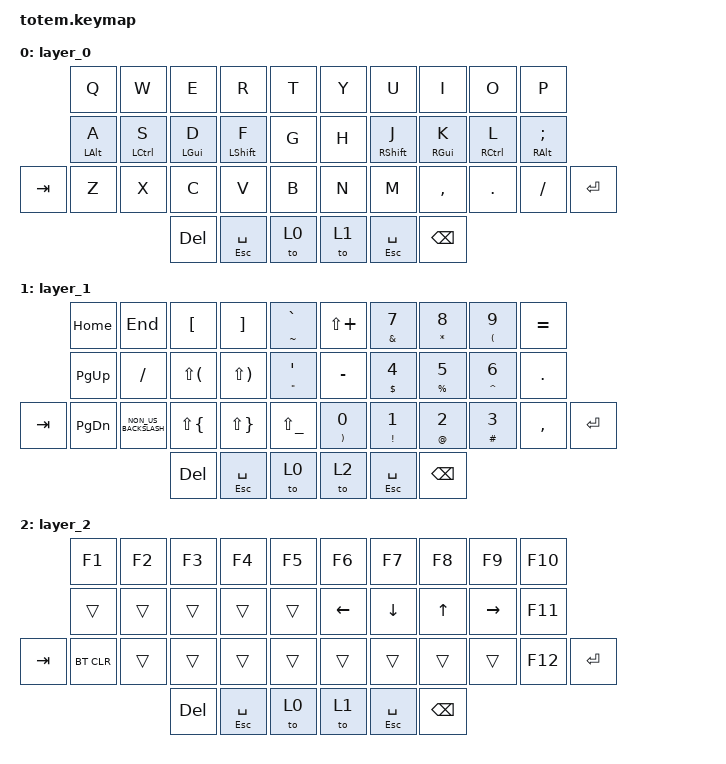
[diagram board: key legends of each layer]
#include <behaviors.dtsi>
#include <dt-bindings/zmk/bt.h>
#include <dt-bindings/zmk/keys.h>

/ {
    behaviors {
        HML: HML {
            compatible = "zmk,behavior-hold-tap";
            label = "HML";
            bindings = <&kp>, <&kp>;

            #binding-cells = <2>;
            tapping-term-ms = <280>;
            quick-tap-ms = <175>;
            flavor = "tap-preferred";
            hold-trigger-on-release;
            hold-trigger-key-positions = <5 6 7 8 9 15 16 17 18 19 26 27 28 29 30 31 35 36 37 32 33 34>;
        };

        HMR: HMR {
            compatible = "zmk,behavior-hold-tap";
            label = "HMR";
            bindings = <&kp>, <&kp>;

            #binding-cells = <2>;
            tapping-term-ms = <280>;
            quick-tap-ms = <175>;
            flavor = "tap-preferred";
            hold-trigger-on-release;
            hold-trigger-key-positions = <0 1 2 3 4 10 11 12 13 14 20 21 22 23 24 25 32 33 34 35 36 37>;
        };
    };

    macros {
        meh: meh {
            compatible = "zmk,behavior-macro";
            #binding-cells = <0>;
            bindings =
                <&kp RIGHT_GUI &kp RIGHT_ALT &kp RIGHT_SHIFT &kp RIGHT_WIN &kp>,
                <&macro_press>;

            label = "MEH";
        };
    };

    keymap {
        compatible = "zmk,keymap";

        layer_0 {
            bindings = <
         &kp Q            &kp W         &kp E            &kp R              &kp T    &kp Y  &kp U               &kp I             &kp O                 &kp P
         &HML LEFT_ALT A  &HML LCTRL S  &HML LEFT_GUI D  &HML LEFT_SHIFT F  &kp G    &kp H  &HMR RIGHT_SHIFT J  &HMR RIGHT_GUI K  &HMR RIGHT_CONTROL L  &HMR RIGHT_ALT SEMICOLON
&kp TAB  &kp Z            &kp X         &kp C            &kp V              &kp B    &kp N  &kp M               &kp COMMA         &kp DOT               &kp FSLH                  &kp ENTER
                                        &kp DEL          &mt ESCAPE SPACE   &to 0    &to 1  &mt ESCAPE SPACE    &kp BACKSPACE
            >;
        };

        layer_1 {
            bindings = <
         &kp HOME       &kp END               &kp LBKT      &kp RBKT          &mt TILDE GRAVE          &kp LS(PLUS)              &mt AMPERSAND N7     &mt ASTERISK N8       &mt LEFT_PARENTHESIS N9  &kp EQUAL
         &kp PAGE_UP    &kp SLASH             &kp LS(LPAR)  &kp LS(RPAR)      &mt DOUBLE_QUOTES SQT    &kp MINUS                 &mt DOLLAR NUMBER_4  &mt PERCENT N5        &mt CARET NUMBER_6       &kp PERIOD
&kp TAB  &kp PAGE_DOWN  &kp NON_US_BACKSLASH  &kp LS(LBRC)  &kp LS(RBRC)      &kp LS(UNDER)            &mt RIGHT_PARENTHESIS N0  &mt EXCLAMATION N1   &mt AT_SIGN NUMBER_2  &mt HASH NUMBER_3        &kp COMMA   &kp RET
                                              &kp DELETE    &mt ESCAPE SPACE  &to 0                    &to 2                     &mt ESCAPE SPACE     &kp BACKSPACE
            >;
        };

        layer_2 {
            bindings = <
         &kp F1      &kp F2  &kp F3   &kp F4            &kp F5    &kp F6    &kp F7            &kp F8         &kp F9     &kp F10
         &trans      &trans  &trans   &trans            &trans    &kp LEFT  &kp DOWN          &kp UP         &kp RIGHT  &kp F11
&kp TAB  &bt BT_CLR  &trans  &trans   &trans            &trans    &trans    &trans            &trans         &trans     &kp F12  &kp ENTER
                             &kp DEL  &mt ESCAPE SPACE  &to 0     &to 1     &mt ESCAPE SPACE  &kp BACKSPACE
            >;
        };
    };
};
